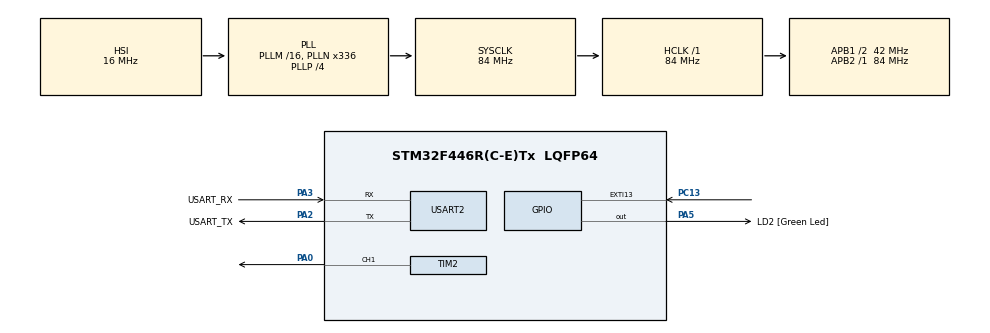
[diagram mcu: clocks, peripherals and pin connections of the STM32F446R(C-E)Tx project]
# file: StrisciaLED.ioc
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Dma.Request0=TIM2_CH1
Dma.TIM2_CH1.0.Direction=DMA_MEMORY_TO_PERIPH
Dma.TIM2_CH1.0.FIFOMode=DMA_FIFOMODE_DISABLE
Dma.TIM2_CH1.0.Instance=DMA1_Stream5
Dma.TIM2_CH1.0.MemDataAlignment=DMA_MDATAALIGN_WORD
Dma.TIM2_CH1.0.MemInc=DMA_MINC_ENABLE
Dma.TIM2_CH1.0.Mode=DMA_CIRCULAR
Dma.TIM2_CH1.0.PeriphDataAlignment=DMA_PDATAALIGN_WORD
Dma.TIM2_CH1.0.PeriphInc=DMA_PINC_DISABLE
Dma.TIM2_CH1.0.Priority=DMA_PRIORITY_VERY_HIGH
Mcu.Family=STM32F4
Mcu.Name=STM32F446R(C-E)Tx
Mcu.Package=LQFP64
NVIC.DMA1_Stream5_IRQn=true\:0\:0\:false\:false\:true\:false\:true
NVIC.PriorityGroup=NVIC_PRIORITYGROUP_0
PA0-WKUP.Signal=S_TIM2_CH1_ETR
PA13.GPIO_Label=TMS
PA13.Mode=Serial_Wire
PA13.Signal=SYS_JTMS-SWDIO
PA14.GPIO_Label=TCK
PA14.Mode=Serial_Wire
PA14.Signal=SYS_JTCK-SWCLK
PA2.GPIO_Label=USART_TX
PA2.Mode=Asynchronous
PA2.Signal=USART2_TX
PA3.GPIO_Label=USART_RX
PA3.Mode=Asynchronous
PA3.Signal=USART2_RX
PA5.GPIO_Label=LD2 [Green Led]
PA5.Signal=GPIO_Output
PB3.GPIO_Label=SWO
PB3.Signal=SYS_JTDO-SWO
PC13.Signal=GPXTI13
PC14-OSC32_IN.Mode=LSE-External-Oscillator
PC14-OSC32_IN.Signal=RCC_OSC32_IN
PC15-OSC32_OUT.Mode=LSE-External-Oscillator
PC15-OSC32_OUT.Signal=RCC_OSC32_OUT
PH0-OSC_IN.Mode=HSE-External-Oscillator
PH0-OSC_IN.Signal=RCC_OSC_IN
PH1-OSC_OUT.Mode=HSE-External-Oscillator
PH1-OSC_OUT.Signal=RCC_OSC_OUT
ProjectManager.HeapSize=0x200
ProjectManager.StackSize=0x400
ProjectManager.TargetToolchain=STM32CubeIDE
RCC.48MHZClocksFreq_Value=84000000
RCC.AHBFreq_Value=84000000
RCC.APB1CLKDivider=RCC_HCLK_DIV2
RCC.APB1Freq_Value=42000000
RCC.APB1TimFreq_Value=84000000
RCC.APB2Freq_Value=84000000
RCC.APB2TimFreq_Value=84000000
RCC.CortexFreq_Value=84000000
RCC.FLatency-AdvancedSettings=FLASH_LATENCY_2
RCC.HCLKFreq_Value=84000000
RCC.HSE_VALUE=8000000
RCC.HSI_VALUE=16000000
RCC.PLLN=336
RCC.PLLP=RCC_PLLP_DIV4
RCC.SYSCLKFreq_VALUE=84000000
RCC.SYSCLKSource=RCC_SYSCLKSOURCE_PLLCLK
RCC.USBFreq_Value=168000000
RCC.VCOOutputFreq_Value=336000000
SH.S_TIM2_CH1_ETR.0=TIM2_CH1,PWM Generation1 CH1
TIM2.Channel-PWM\ Generation1\ CH1=TIM_CHANNEL_1
TIM2.OCFastMode_PWM-PWM\ Generation1\ CH1=TIM_OCFAST_DISABLE
TIM2.Period=104
USART2.VirtualMode=VM_ASYNC
board=NUCLEO-F446RE

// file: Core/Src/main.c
/* USER CODE BEGIN Header */
/**
  ******************************************************************************
  * @file           : main.c
  * @brief          : Main program body
  ******************************************************************************
  * @attention
  *
  * <h2><center>&copy; Copyright (c) 2020 STMicroelectronics.
  * All rights reserved.</center></h2>
  *
  * This software component is licensed by ST under BSD 3-Clause license,
  * the "License"; You may not use this file except in compliance with the
  * License. You may obtain a copy of the License at:
  *                        opensource.org/licenses/BSD-3-Clause
  *
  ******************************************************************************
  */
/* USER CODE END Header */
#include "main.h"

/* USER CODE BEGIN PD */
#define n_led 60
#define reset_bit 50
#define n_bit reset_bit+24*n_led
/* USER CODE END PD */

TIM_HandleTypeDef htim2;
DMA_HandleTypeDef hdma_tim2_ch1;

UART_HandleTypeDef huart2;

/* USER CODE BEGIN PV */
uint32_t control_buffer[n_bit];
uint8_t red[3] = {255,0,0};
uint8_t blue[3] = {0,0,255};
uint8_t white[3] = {255,255,255};
uint8_t violet[3] = {255,0,255};
uint8_t turn_off[3] = {0,0,0};
uint8_t switch_color = 0;
/* USER CODE END PV */

void SystemClock_Config(void);
static void MX_GPIO_Init(void);
static void MX_DMA_Init(void);
static void MX_USART2_UART_Init(void);
static void MX_TIM2_Init(void);
/* USER CODE BEGIN PFP */
uint8_t switchEndian(uint8_t var);
uint32_t getColorInBit(uint8_t red,uint8_t green,uint8_t blue);
uint32_t mapBitInNZR(uint32_t color, uint8_t c,uint32_t high, uint32_t low);
void get_light(uint32_t reset,uint32_t high,uint32_t low,uint8_t* color);
/* USER CODE END PFP */

int main(void)
{

  /* MCU Configuration--------------------------------------------------------*/

  /* Reset of all peripherals, Initializes the Flash interface and the Systick. */
  HAL_Init();

  /* Configure the system clock */
  SystemClock_Config();

  /* Initialize all configured peripherals */
  MX_GPIO_Init();
  MX_DMA_Init();
  MX_USART2_UART_Init();
  MX_TIM2_Init();
  /* USER CODE BEGIN 2 */
  uint32_t reset = 0;
  uint32_t high = (uint32_t)(2*__HAL_TIM_GET_AUTORELOAD(&htim2)/3);
  uint32_t low = __HAL_TIM_GET_AUTORELOAD(&htim2) - high;
  get_light(reset, high, low, white);
  /* USER CODE END 2 */

  /* Infinite loop */
  while (1)
  {

  }
}

void SystemClock_Config(void)
{
  RCC_OscInitTypeDef RCC_OscInitStruct = {0};
  RCC_ClkInitTypeDef RCC_ClkInitStruct = {0};

  /** Configure the main internal regulator output voltage
  */
  __HAL_RCC_PWR_CLK_ENABLE();
  __HAL_PWR_VOLTAGESCALING_CONFIG(PWR_REGULATOR_VOLTAGE_SCALE3);
  /** Initializes the RCC Oscillators according to the specified parameters
  * in the RCC_OscInitTypeDef structure.
  */
  RCC_OscInitStruct.OscillatorType = RCC_OSCILLATORTYPE_HSI;
  RCC_OscInitStruct.HSIState = RCC_HSI_ON;
  RCC_OscInitStruct.HSICalibrationValue = RCC_HSICALIBRATION_DEFAULT;
  RCC_OscInitStruct.PLL.PLLState = RCC_PLL_ON;
  RCC_OscInitStruct.PLL.PLLSource = RCC_PLLSOURCE_HSI;
  RCC_OscInitStruct.PLL.PLLM = 16;
  RCC_OscInitStruct.PLL.PLLN = 336;
  RCC_OscInitStruct.PLL.PLLP = RCC_PLLP_DIV4;
  RCC_OscInitStruct.PLL.PLLQ = 2;
  RCC_OscInitStruct.PLL.PLLR = 2;
  if (HAL_RCC_OscConfig(&RCC_OscInitStruct) != HAL_OK)
  {
    Error_Handler();
  }
  /** Initializes the CPU, AHB and APB buses clocks
  */
  RCC_ClkInitStruct.ClockType = RCC_CLOCKTYPE_HCLK|RCC_CLOCKTYPE_SYSCLK
                              |RCC_CLOCKTYPE_PCLK1|RCC_CLOCKTYPE_PCLK2;
  RCC_ClkInitStruct.SYSCLKSource = RCC_SYSCLKSOURCE_PLLCLK;
  RCC_ClkInitStruct.AHBCLKDivider = RCC_SYSCLK_DIV1;
  RCC_ClkInitStruct.APB1CLKDivider = RCC_HCLK_DIV2;
  RCC_ClkInitStruct.APB2CLKDivider = RCC_HCLK_DIV1;

  if (HAL_RCC_ClockConfig(&RCC_ClkInitStruct, FLASH_LATENCY_2) != HAL_OK)
  {
    Error_Handler();
  }
}

static void MX_TIM2_Init(void)
{

  TIM_MasterConfigTypeDef sMasterConfig = {0};
  TIM_OC_InitTypeDef sConfigOC = {0};

  htim2.Instance = TIM2;
  htim2.Init.Prescaler = 0;
  htim2.Init.CounterMode = TIM_COUNTERMODE_UP;
  htim2.Init.Period = 104;
  htim2.Init.ClockDivision = TIM_CLOCKDIVISION_DIV1;
  htim2.Init.AutoReloadPreload = TIM_AUTORELOAD_PRELOAD_DISABLE;
  if (HAL_TIM_PWM_Init(&htim2) != HAL_OK)
  {
    Error_Handler();
  }
  sMasterConfig.MasterOutputTrigger = TIM_TRGO_RESET;
  sMasterConfig.MasterSlaveMode = TIM_MASTERSLAVEMODE_DISABLE;
  if (HAL_TIMEx_MasterConfigSynchronization(&htim2, &sMasterConfig) != HAL_OK)
  {
    Error_Handler();
  }
  sConfigOC.OCMode = TIM_OCMODE_PWM1;
  sConfigOC.Pulse = 0;
  sConfigOC.OCPolarity = TIM_OCPOLARITY_HIGH;
  sConfigOC.OCFastMode = TIM_OCFAST_DISABLE;
  if (HAL_TIM_PWM_ConfigChannel(&htim2, &sConfigOC, TIM_CHANNEL_1) != HAL_OK)
  {
    Error_Handler();
  }
  HAL_TIM_MspPostInit(&htim2);

}

static void MX_USART2_UART_Init(void)
{

  huart2.Instance = USART2;
  huart2.Init.BaudRate = 115200;
  huart2.Init.WordLength = UART_WORDLENGTH_8B;
  huart2.Init.StopBits = UART_STOPBITS_1;
  huart2.Init.Parity = UART_PARITY_NONE;
  huart2.Init.Mode = UART_MODE_TX_RX;
  huart2.Init.HwFlowCtl = UART_HWCONTROL_NONE;
  huart2.Init.OverSampling = UART_OVERSAMPLING_16;
  if (HAL_UART_Init(&huart2) != HAL_OK)
  {
    Error_Handler();
  }

}

static void MX_DMA_Init(void)
{

  /* DMA controller clock enable */
  __HAL_RCC_DMA1_CLK_ENABLE();

  /* DMA interrupt init */
  /* DMA1_Stream5_IRQn interrupt configuration */
  HAL_NVIC_SetPriority(DMA1_Stream5_IRQn, 0, 0);
  HAL_NVIC_EnableIRQ(DMA1_Stream5_IRQn);

}

static void MX_GPIO_Init(void)
{
  GPIO_InitTypeDef GPIO_InitStruct = {0};

  /* GPIO Ports Clock Enable */
  __HAL_RCC_GPIOC_CLK_ENABLE();
  __HAL_RCC_GPIOH_CLK_ENABLE();
  __HAL_RCC_GPIOA_CLK_ENABLE();
  __HAL_RCC_GPIOB_CLK_ENABLE();

  /*Configure GPIO pin Output Level */
  HAL_GPIO_WritePin(LD2_GPIO_Port, LD2_Pin, GPIO_PIN_RESET);

  /*Configure GPIO pin : PC13 */
  GPIO_InitStruct.Pin = GPIO_PIN_13;
  GPIO_InitStruct.Mode = GPIO_MODE_IT_RISING;
  GPIO_InitStruct.Pull = GPIO_NOPULL;
  HAL_GPIO_Init(GPIOC, &GPIO_InitStruct);

  /*Configure GPIO pin : LD2_Pin */
  GPIO_InitStruct.Pin = LD2_Pin;
  GPIO_InitStruct.Mode = GPIO_MODE_OUTPUT_PP;
  GPIO_InitStruct.Pull = GPIO_NOPULL;
  GPIO_InitStruct.Speed = GPIO_SPEED_FREQ_LOW;
  HAL_GPIO_Init(LD2_GPIO_Port, &GPIO_InitStruct);

}

/* USER CODE BEGIN 4 */
/*
void HAL_GPIO_EXTI_Callback(uint16_t GPIO_Pin)
{
		  uint32_t reset = 0;
		  uint32_t high = (uint32_t)(2*__HAL_TIM_GET_AUTORELOAD(&htim2)/3);
		  uint32_t low = __HAL_TIM_GET_AUTORELOAD(&htim2) - high;
		  switch_color++;
		  switch(switch_color)
		  {
		  case 1:
			  get_light(reset,high,low,red);
			  break;
		  case 2:
			  get_light(reset,high,low,blue);
			  break;
		  case 3:
			  get_light(reset,high,low,white);
			  break;
		  case 4:
			  get_light(reset,high,low,violet);
			  break;
		  case 5:
			  switch_color = 0;
			  get_light(reset,high,low,turn_off);
			  break;

		  }
}
*/
void get_light(uint32_t reset,uint32_t high,uint32_t low,uint8_t * color_vector)
{
	uint8_t red = color_vector[0];
	uint8_t green = color_vector[1];
	uint8_t blue = color_vector[2];
	uint32_t k = 0;
	uint8_t c = 0;
	uint32_t color = getColorInBit(red,green,blue);
	for (int i = 0; i < n_bit; i++)
	{
		  if (i < reset_bit)
			  control_buffer[i] = reset;
		  else
		  {
			  c = k % 24;
			  control_buffer[i] = mapBitInNZR(color,c,high,low);
			  k++;
		  }
	}
	HAL_TIM_PWM_Stop_DMA(&htim2, TIM_CHANNEL_1);
	HAL_TIM_PWM_Start_DMA(&htim2, TIM_CHANNEL_1, control_buffer, n_bit);
}

uint32_t mapBitInNZR(uint32_t color, uint8_t c,uint32_t high, uint32_t low)
{
	if (((color & (1 << c)) >> c) == 1)
		return high;
	else
		return low;
}

uint32_t getColorInBit(uint8_t red,uint8_t green,uint8_t blue)
{
	uint8_t red_s = switchEndian(red);
	uint8_t green_s = switchEndian(green);
	uint8_t blue_s = switchEndian(blue);
	return (green_s + (red_s << 8) + (blue_s << 16));
}

uint8_t switchEndian(uint8_t var)
{
    uint8_t rav = 0;
    uint8_t n;
	for (int i = 0; i < 8; i++)
	{
		n = (var & (1 << i)) >> i;
		rav += (n * pow(2,7-i));
	}
	return rav;
}
/* USER CODE END 4 */

void Error_Handler(void)
{
}

/************************ (C) COPYRIGHT STMicroelectronics *****END OF FILE****/
